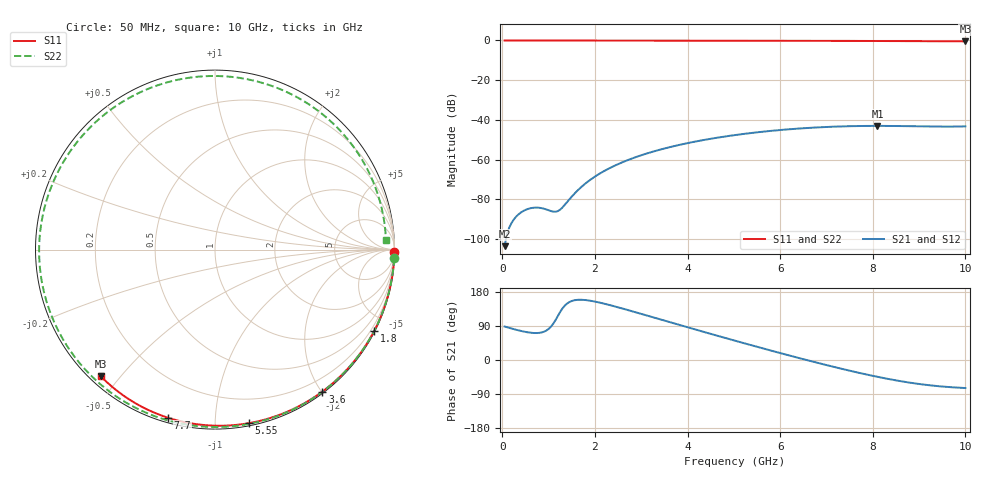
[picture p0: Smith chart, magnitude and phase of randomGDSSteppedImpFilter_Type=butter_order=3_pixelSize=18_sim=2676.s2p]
! freq	dB(S11)	phase(S11)	dB(S12)	phase(S12)
!  dB(S21)	phase(S21)	dB(S22)	phase(S22)
!S-par simulation data
#  GHz  S  DB  R 50
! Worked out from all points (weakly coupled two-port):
!   200 points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, 50 MHz to 10 GHz, reference 50 ohm
!   highest |S21| = -43.05 dB at 8.1 GHz (marker M1); lowest = -103.7 dB at 50 MHz (marker M2)
!   lowest |S11| = -0.4 dB at 10 GHz (marker M3), VSWR 38.95, Z = 1.54 - j22.2 ohm
!   |S11| at or under -10 dB: nowhere
!   |S22| runs from -0.4 to 0.0 dB; largest |S21 - S12| = 0
!   S11 on the Smith chart (normalised r, x): 50 MHz: open; 1.8 GHz: 0.04, -4.15; 3.6 GHz: 0.02, -2.01; 5.55 GHz: 0.02, -1.21; 7.7 GHz: 0.02, -0.76; 10 GHz: 0.03, -0.44
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0.05  -0.00 -0.8  -103.66 88.3  -103.66 88.3  -0.00 -2.8
0.4  -0.01 -6.1  -86.72 76.7  -86.72 76.7  -0.03 -22.2
0.8  -0.02 -12.1  -84.31 71.6  -84.31 71.6  -0.05 -43.7
1.1  -0.02 -16.6  -86.26 95.7  -86.26 95.7  -0.07 -59.1
1.45  -0.03 -21.9  -80.03 153.0  -80.03 153.0  -0.09 -76.0
1.75  -0.03 -26.3  -72.94 158.7  -72.94 158.7  -0.10 -89.6
1.8  -0.03 -27.1  -71.98 158.2  -71.98 158.2  -0.10 -91.8
2.45  -0.05 -36.6  -62.85 140.7  -62.85 140.7  -0.12 -118.3
2.9  -0.06 -43.0  -58.64 125.2  -58.64 125.2  -0.13 -134.9
3.4  -0.07 -50.1  -55.06 107.6  -55.06 107.6  -0.15 -151.9
3.6  -0.07 -52.9  -53.85 100.5  -53.85 100.5  -0.15 -158.4
4.3  -0.09 -62.5  -50.36 75.9  -50.36 75.9  -0.18 179.9
5.05  -0.11 -72.5  -47.59 50.1  -47.59 50.1  -0.20 157.7
5.55  -0.13 -79.0  -46.16 33.2  -46.16 33.2  -0.22 143.0
6.15  -0.15 -86.7  -44.83 13.5  -44.83 13.5  -0.25 125.4
6.7  -0.18 -93.5  -43.95 -4.1  -43.95 -4.1  -0.27 108.9
7.2  -0.21 -99.6  -43.41 -19.4  -43.41 -19.4  -0.29 93.5
7.7  -0.24 -105.5  -43.12 -33.8  -43.12 -33.8  -0.30 77.8
8.1  -0.27 -110.3  -43.05 -44.4  -43.05 -44.4  -0.31 65.1
8.35  -0.29 -113.2  -43.07 -50.4  -43.07 -50.4  -0.32 57.0
9.2  -0.36 -123.0  -43.36 -66.3  -43.36 -66.3  -0.36 29.3
10  -0.45 -132.1  -43.28 -74.0  -43.28 -74.0  -0.41 3.3
